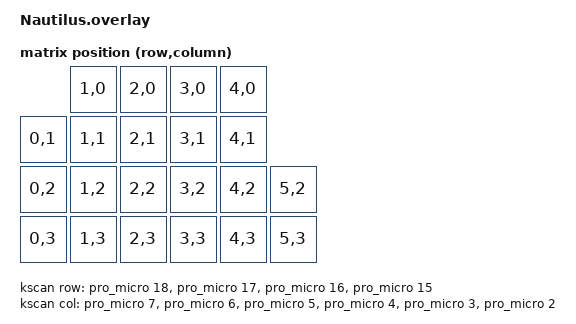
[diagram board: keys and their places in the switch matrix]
#include <dt-bindings/zmk/matrix_transform.h> 

/ {
    kscan: kscan {
        compatible = "zmk,kscan-gpio-matrix";
        diode-direction = "col2row";
        
        col-gpios
	    = <&pro_micro 7 GPIO_ACTIVE_HIGH>   // D7 (Col0)
   		, <&pro_micro 6 GPIO_ACTIVE_HIGH>   // D6 (Col1)
 		, <&pro_micro 5 GPIO_ACTIVE_HIGH>   // D5 (Col2)
   		, <&pro_micro 4 GPIO_ACTIVE_HIGH>   // D4 (Col3)
   		, <&pro_micro 3 GPIO_ACTIVE_HIGH>   // D3 (Col4)
  		, <&pro_micro 2 GPIO_ACTIVE_HIGH>   // D2 (Col5)
  	 	;
	
        row-gpios
	    = <&pro_micro 18 (GPIO_ACTIVE_HIGH | GPIO_PULL_DOWN)>  // Row0
   		, <&pro_micro 17 (GPIO_ACTIVE_HIGH | GPIO_PULL_DOWN)>  // Row1
   		, <&pro_micro 16 (GPIO_ACTIVE_HIGH | GPIO_PULL_DOWN)>  // Row2
   		, <&pro_micro 15 (GPIO_ACTIVE_HIGH | GPIO_PULL_DOWN)>  // Row3
  		;

    };
    
default_transform: matrix_transform {
    compatible = "zmk,matrix-transform";
    columns = <6>;
    rows = <4>;

    map = <
        // Row 0
                RC(1,0) RC(2,0) RC(3,0) RC(4,0)

        // Row 1
        RC(0,1) RC(1,1) RC(2,1) RC(3,1) RC(4,1)

        // Row 2
        RC(0,2) RC(1,2) RC(2,2) RC(3,2) RC(4,2) RC(5,2)

        // Row 3
        RC(0,3) RC(1,3) RC(2,3) RC(3,3) RC(4,3) RC(5,3)
    >;
};
    
    physical_layout: physical_layout { 
        compatible = "zmk,physical-layout";
        display-name = "Default Layout";
        transform = <&default_transform>; 
    };
    
    
    chosen {
        zmk,kscan = &kscan;
        zmk,physical-layout = &physical_layout;
    };
};
